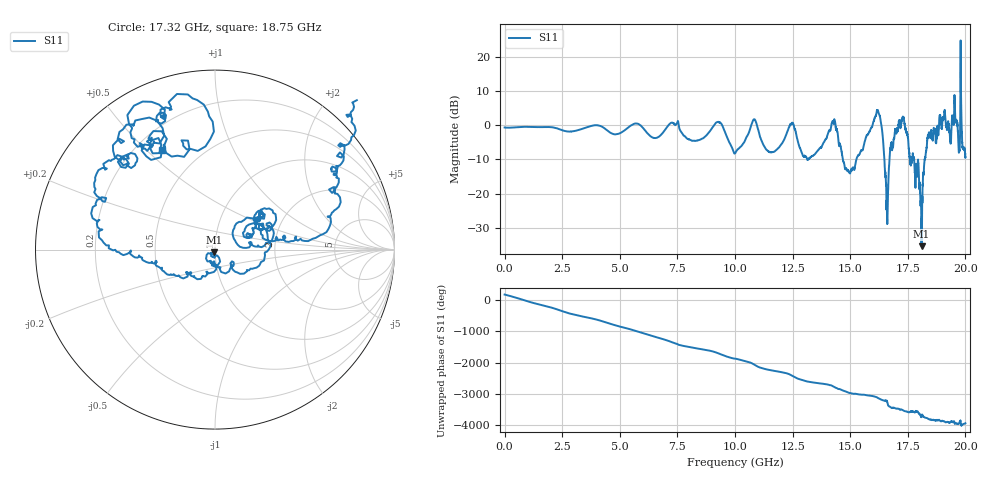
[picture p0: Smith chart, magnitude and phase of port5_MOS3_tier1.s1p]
! Created with skrf 1.8.0 (http://scikit-rf.org).
# GHz S RI R 50.0
!freq ReS11 ImS11
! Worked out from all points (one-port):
!   10001 points, 1 MHz to 20 GHz, reference 50 ohm
!   lowest |S11| = -35.4 dB at 18.1 GHz (marker M1), VSWR 1.03, Z = 49.3 - j1.51 ohm
!   |S11| at or under -10 dB: 14.68 GHz to 15.27 GHz (588.4 MHz wide, 3.93 % of centre); 16.49 GHz to 16.71 GHz (220 MHz wide, 1.33 % of centre); 17.78 GHz to 18.23 GHz (454.2 MHz wide, 2.52 % of centre) (the widest 3 of 9)
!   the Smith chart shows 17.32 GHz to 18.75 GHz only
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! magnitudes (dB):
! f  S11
! 1 MHz  -0.6
! 2.501 GHz  -1.4
! 5.001 GHz  -2.3
! 7.501 GHz  0.9
! 8.275 GHz  -4.6
! 9.319 GHz  0.8
! 10 GHz  -8.2
! 10.82 GHz  1.8
! 11.57 GHz  -7.9
! 12.5 GHz  0.6
! 13.19 GHz  -9.8
! 14.28 GHz  0.4
! 15 GHz  -13.8
! 16.17 GHz  4.4
! 16.36 GHz  -0.2
! 16.59 GHz  -24.4
! 16.79 GHz  -5.1
! 17.04 GHz  -1.7
! 17.31 GHz  2.1
! 17.5 GHz  -3.5
! 18.1 GHz  -35.4
! 18.37 GHz  -2.8
! 18.96 GHz  -0.8
! 19.29 GHz  -0.8
! 19.56 GHz  1.9
! 19.67 GHz  -1.6
! 19.87 GHz  -6.3
! 20 GHz  -9.4
